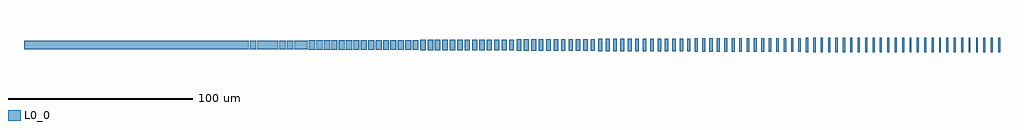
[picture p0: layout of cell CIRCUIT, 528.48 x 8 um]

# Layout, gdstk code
import gdstk
lib = gdstk.Library(unit=1e-6, precision=1e-09)
def R(c, l, rs):  # rectangles x0, y0, x1, y1
    for r in rs: c.add(gdstk.rectangle(r[:2], r[2:], *l))
L0_0 = (0, 0)

circuit = lib.new_cell('CIRCUIT')
R(circuit, L0_0, [(523.52,196,524.48,204), (527.52,196,528.48,204), (519.519,196.001,520.481,203.999), (515.518,196.003,516.482,203.997), (511.516,196.005,512.484,203.995), (507.514,196.008,508.486,203.992), (503.511,196.011,504.489,203.989), (499.508,196.015,500.492,203.985), (495.504,196.019,496.496,203.981), (491.5,196.025,492.5,203.975), (487.495,196.03,488.505,203.97), (483.49,196.037,484.51,203.963), (479.485,196.044,480.515,203.956), (475.479,196.051,476.521,203.949), (471.472,196.059,472.528,203.941), (467.465,196.068,468.535,203.932), (463.458,196.077,464.542,203.923), (459.45,196.087,460.55,203.913), (455.441,196.097,456.559,203.903), (451.433,196.108,452.567,203.892), (447.423,196.119,448.577,203.881), (443.414,196.131,444.586,203.869), (439.404,196.143,440.596,203.857), (435.393,196.156,436.607,203.844), (431.382,196.17,432.618,203.83), (427.371,196.184,428.629,203.816), (423.359,196.198,424.641,203.802), (419.347,196.213,420.653,203.787), (415.335,196.228,416.665,203.772), (411.322,196.244,412.678,203.756), (407.309,196.26,408.691,203.74), (403.295,196.277,404.705,203.723), (399.281,196.294,400.719,203.706), (395.267,196.312,396.733,203.688), (391.253,196.329,392.747,203.671), (387.238,196.348,388.762,203.652), (383.223,196.366,384.777,203.634), (379.207,196.385,380.793,203.615), (375.192,196.405,376.808,203.595), (371.176,196.424,372.824,203.576), (367.16,196.444,368.84,203.556), (363.143,196.464,364.857,203.536), (359.126,196.485,360.874,203.515), (355.11,196.506,356.89,203.494), (351.092,196.527,352.908,203.473), (347.075,196.548,348.925,203.452), (343.058,196.57,344.942,203.43), (339.04,196.591,340.96,203.409), (335.022,196.613,336.978,203.387), (331.004,196.636,332.996,203.364), (326.986,196.658,329.014,203.342), (322.968,196.68,325.032,203.32), (318.95,196.703,321.05,203.297), (314.931,196.726,317.069,203.274), (310.913,196.748,313.087,203.252), (306.894,196.771,309.106,203.229), (302.876,196.794,305.124,203.206), (298.857,196.817,301.143,203.183), (294.838,196.84,297.162,203.16), (290.819,196.863,293.181,203.137), (286.801,196.887,289.199,203.113), (282.782,196.91,285.218,203.09), (278.763,196.933,281.237,203.067), (274.744,196.956,277.256,203.044), (270.726,196.979,273.274,203.021), (266.707,197.002,269.293,202.998), (262.689,197.024,265.311,202.976), (258.67,197.047,261.33,202.953), (254.652,197.07,257.348,202.93), (250.634,197.092,253.366,202.908), (246.616,197.114,249.384,202.886), (242.598,197.137,245.402,202.863), (238.58,197.159,241.42,202.841), (234.562,197.18,237.438,202.82), (230.545,197.202,233.455,202.798), (226.528,197.223,229.472,202.777), (222.51,197.244,225.49,202.756), (218.494,197.265,221.506,202.735), (214.477,197.286,217.523,202.714), (210.46,197.306,213.54,202.694), (206.444,197.326,209.556,202.674), (202.428,197.345,205.572,202.655), (198.413,197.365,201.587,202.635), (194.397,197.384,197.603,202.616), (190.382,197.402,193.618,202.598), (186.367,197.421,189.633,202.579), (182.353,197.438,185.647,202.562), (178.339,197.456,181.661,202.544), (174.325,197.473,177.675,202.527), (170.311,197.49,173.689,202.51), (166.298,197.506,169.702,202.494), (162.285,197.522,165.715,202.478), (158.273,197.537,161.727,202.463), (154.261,197.552,157.739,202.448), (150.249,197.566,153.751,202.434), (146.238,197.58,149.762,202.42), (142.227,197.594,145.773,202.406), (138.216,197.607,141.784,202.393), (134.206,197.619,137.794,202.381), (130.197,197.631,133.803,202.369), (126.187,197.642,129.813,202.358), (122.179,197.653,125.821,202.347), (118.17,197.663,121.83,202.337), (114.162,197.673,117.838,202.327), (110.155,197.682,113.845,202.318), (106.148,197.691,109.852,202.309), (102.141,197.699,105.859,202.301), (98.135,197.706,101.865,202.294), (94.13,197.713,97.87,202.287), (90.125,197.72,93.875,202.28), (86.12,197.725,89.88,202.275), (82.116,197.731,85.884,202.269), (78.112,197.735,81.888,202.265), (74.109,197.739,77.891,202.261), (70.106,197.742,73.894,202.258), (66.104,197.745,69.896,202.255), (62.102,197.747,65.898,202.253), (58.101,197.749,61.899,202.251), (0,197.75,50,202.25), (50.1,197.75,53.9,202.25), (54.1,197.75,57.9,202.25)])

lib.write_gds('CIRCUIT.gds')
